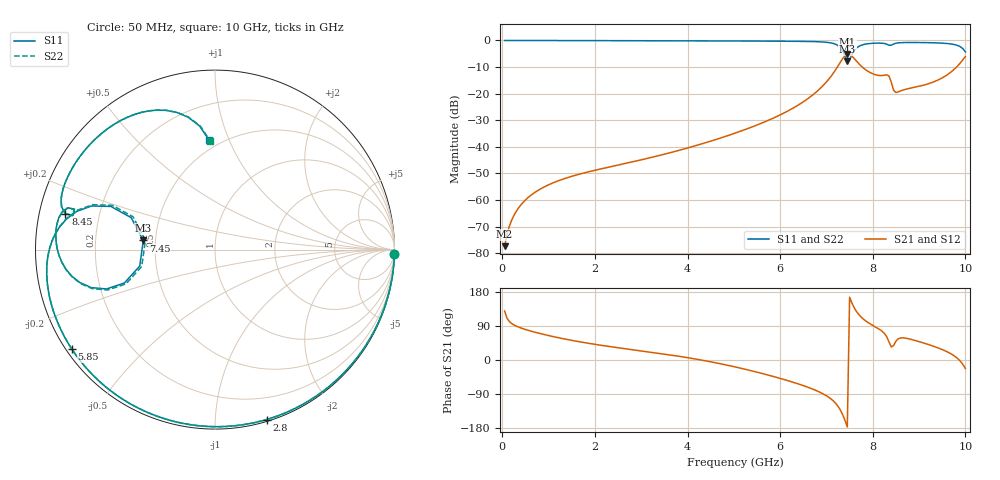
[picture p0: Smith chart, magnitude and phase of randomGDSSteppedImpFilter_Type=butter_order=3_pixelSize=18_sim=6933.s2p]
! freq	dB(S11)	phase(S11)	dB(S12)	phase(S12)
!  dB(S21)	phase(S21)	dB(S22)	phase(S22)
!S-par simulation data
#  GHz  S  DB  R 50
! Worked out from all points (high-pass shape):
!   200 points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, 50 MHz to 10 GHz, reference 50 ohm
!   highest |S21| = -5.16 dB at 7.45 GHz (marker M1); lowest = -77.3 dB at 50 MHz (marker M2)
!   |S21| within 3 dB of the highest: 7.3 GHz to 7.669 GHz (369.2 MHz wide, 4.93 % of centre); 9.903 GHz to end of sweep
!   lowest |S11| = -7.9 dB at 7.45 GHz (marker M3), VSWR 2.35, Z = 21.4 + j2.59 ohm
!   |S11| at or under -10 dB: nowhere
!   |S22| runs from -8.2 to 0.0 dB; largest |S21 - S12| = 0
!   S11 on the Smith chart (normalised r, x): 50 MHz: 0, -84; 2.8 GHz: 0.01, -1.35; 5.85 GHz: 0.02, -0.31; 7.45 GHz: 0.43, +0.05; 8.45 GHz: 0.08, +0.12; 10 GHz: 0.44, +0.85
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0.05  -0.00 -1.4  -77.33 129.3  -77.33 129.3  -0.00 -1.4
0.2  -0.00 -5.5  -67.65 96.5  -67.65 96.5  -0.00 -5.5
0.5  -0.01 -13.6  -59.96 80.5  -59.96 80.5  -0.01 -13.6
1  -0.03 -27.0  -54.26 64.5  -54.26 64.5  -0.03 -27.0
1.75  -0.06 -46.6  -49.87 46.3  -49.87 46.3  -0.06 -46.6
2.8  -0.09 -73.1  -45.67 27.3  -45.67 27.3  -0.09 -73.1
3.4  -0.11 -87.6  -43.20 17.4  -43.20 17.4  -0.11 -87.6
5.05  -0.19 -126.1  -34.70 -18.9  -34.70 -18.9  -0.19 -126.2
5.85  -0.25 -145.1  -29.21 -43.4  -29.21 -43.4  -0.25 -145.2
6.7  -0.41 -168.2  -20.54 -76.7  -20.54 -76.7  -0.42 -168.4
7.15  -1.14 171.9  -12.23 -108.2  -12.23 -108.2  -1.16 171.5
7.35  -4.04 157.5  -6.82 -144.2  -6.82 -144.2  -4.11 156.7
7.45  -7.90 172.8  -5.16 -176.8  -5.16 -176.8  -8.15 172.4
7.55  -5.39 -159.8  -5.88 150.3  -5.88 150.3  -5.50 -159.0
7.65  -2.84 -162.9  -7.79 127.6  -7.79 127.6  -2.88 -162.4
7.95  -1.12 179.6  -12.13 94.8  -12.13 94.8  -1.12 179.9
8.35  -1.78 163.9  -13.36 47.5  -13.36 47.5  -1.76 164.1
8.45  -1.33 166.5  -18.69 38.4  -18.69 38.4  -1.32 166.5
9  -0.78 145.2  -17.24 48.5  -17.24 48.5  -0.78 145.2
9.6  -1.14 121.0  -13.01 22.1  -13.01 22.1  -1.14 120.9
9.85  -2.01 105.6  -9.23 2.0  -9.23 2.0  -2.02 105.3
10  -4.31 93.0  -6.07 -22.5  -6.07 -22.5  -4.35 92.5
